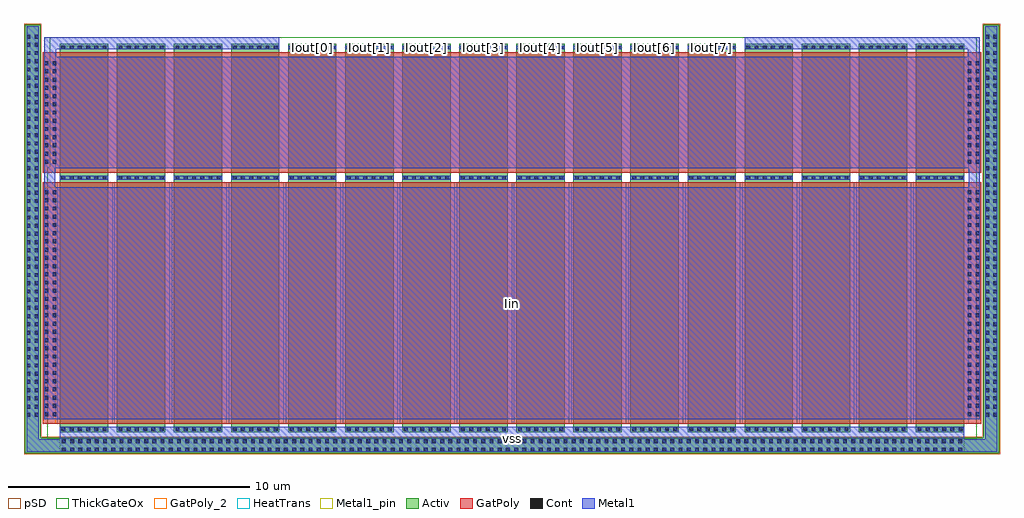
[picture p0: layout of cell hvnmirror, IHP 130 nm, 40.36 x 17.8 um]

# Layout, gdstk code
from math import pi, radians
import gdstk
lib = gdstk.Library(unit=1e-6, precision=1e-09)
def R(c, l, rs):  # rectangles x0, y0, x1, y1
    for r in rs: c.add(gdstk.rectangle(r[:2], r[2:], *l))
def A(c, l, x, y, w, h, nx, ny, dx, dy):  # array of equal rectangles
    R(c, l, [(x+i*dx, y+j*dy, x+i*dx+w, y+j*dy+h) for i in range(nx) for j in range(ny)])
Activ = (1, 0)
GatPoly = (5, 0)
GatPoly_2 = (5, 2)
Cont = (6, 0)
Metal1 = (8, 0)
Metal1_pin = (8, 2)
pSD = (14, 0)
ThickGateOx = (44, 0)
HeatTrans = (51, 0)

nmoshv_1 = lib.new_cell('nmosHV$1')
R(nmoshv_1, Activ, [(0,0,0.3,0.3), (0,0,10.68,2), (10.38,0,10.68,0.3)])
R(nmoshv_1, GatPoly, [(0.34,-0.1,10.34,2.18)])
R(nmoshv_1, GatPoly_2, [(0.34,-0.18,10.34,2.18)])
A(nmoshv_1, Cont, 0.07, 0.07, 0.16, 0.16, 1, 6, 0, 0.34)
A(nmoshv_1, Cont, 10.45, 0.07, 0.16, 0.16, 1, 6, 0, 0.34)
R(nmoshv_1, Metal1, [(0.07,0,0.23,2), (10.45,0,10.61,2)])
R(nmoshv_1, Metal1_pin, [(0.07,0,0.23,2), (10.45,0,10.61,2)])
R(nmoshv_1, ThickGateOx, [(-0.27,-0.52,10.95,2.52)])
R(nmoshv_1, HeatTrans, [(0.34,-0.1,10.34,2.18)])
nmoshv_1.add(gdstk.Label('nmosHV', (5.34,1), layer=63, texttype=0))
nmoshv_1.add(gdstk.Label('nmosHV', (5.34,1), layer=51, texttype=0))

nmoshv_2 = lib.new_cell('nmosHV$2')
R(nmoshv_2, Activ, [(0,0,0.3,0.3), (0,0,5.68,2), (5.38,0,5.68,0.3)])
R(nmoshv_2, GatPoly, [(0.34,-0.18,5.34,2.18)])
R(nmoshv_2, GatPoly_2, [(0.34,-0.18,5.34,2.18)])
A(nmoshv_2, Cont, 0.07, 0.07, 0.16, 0.16, 1, 6, 0, 0.34)
A(nmoshv_2, Cont, 5.45, 0.07, 0.16, 0.16, 1, 6, 0, 0.34)
R(nmoshv_2, Metal1, [(0.07,0,0.23,2), (5.45,0,5.61,2)])
R(nmoshv_2, Metal1_pin, [(0.07,0,0.23,2), (5.45,0,5.61,2)])
R(nmoshv_2, ThickGateOx, [(-0.27,-0.405,5.95,2.52)])
R(nmoshv_2, HeatTrans, [(0.34,-0.18,5.34,2.18)])
nmoshv_2.add(gdstk.Label('nmosHV', (2.84,1), layer=63, texttype=0))
nmoshv_2.add(gdstk.Label('nmosHV', (2.84,1), layer=51, texttype=0))

hvncasc = lib.new_cell('hvncasc')
hvncasc.add(gdstk.Reference(nmoshv_1, (0,0), rotation=pi/2, x_reflection=True))
hvncasc.add(gdstk.Reference(nmoshv_2, (0,10.38), rotation=pi/2, x_reflection=True))

feol_contacts_1 = lib.new_cell('FEOL$contacts$1')
A(feol_contacts_1, Cont, 0.09, 0, 0.16, 0.16, 110, 2, 0.34, 0.34)
R(feol_contacts_1, Metal1, [(0,0,37.4,0.5)])

feol_contacts_3 = lib.new_cell('FEOL$contacts$3')
A(feol_contacts_3, Cont, 0.13, 0, 0.16, 0.16, 28, 2, 0.34, 0.34)
R(feol_contacts_3, Metal1, [(0,0,9.6,0.5)])

feol_contacts = lib.new_cell('FEOL$contacts')
A(feol_contacts, Cont, 0.18, 0, 0.16, 0.16, 13, 2, 0.34, 0.34)
R(feol_contacts, Metal1, [(0,0,4.6,0.5)])

feol_contacts_1_1 = lib.new_cell('FEOL$contacts$1$1')
A(feol_contacts_1_1, Cont, 0.1, 0, 0.16, 0.16, 47, 2, 0.34, 0.34)
R(feol_contacts_1_1, Metal1, [(0,0,16,0.5)])

hvnmirror = lib.new_cell('hvnmirror')
R(hvnmirror, Metal1, [(-0.64,0.54,38.04,10.14), (-0.64,10.92,38.04,15.52)])
A(hvnmirror, Metal1_pin, 9.44, 15.83, 2, 0.16, 8, 1, 2.36, 0)
R(hvnmirror, Metal1_pin, [(0,-0.8,37.4,0.23), (-0.64,0.54,38.04,10.14)])
hvnmirror.add(gdstk.FlexPath([(-1.12,16.79),(-1.12,-0.55),(38.52,-0.55),(38.52,16.79)], 0.5, ends="flush", simple_path=True, layer=8, datatype=0))  # Metal1
hvnmirror.add(gdstk.FlexPath([(-0.41,0.54),(-0.41,15.52)], 0.46, ends="flush", simple_path=True, layer=8, datatype=0))  # Metal1
hvnmirror.add(gdstk.FlexPath([(37.81,0.54),(37.81,15.52)], 0.46, ends="flush", simple_path=True, layer=8, datatype=0))  # Metal1
hvnmirror.add(gdstk.FlexPath([(28.32,16.08),(37.79,16.08),(37.79,10.92)], 0.5, ends="flush", simple_path=True, layer=8, datatype=0))  # Metal1
hvnmirror.add(gdstk.FlexPath([(9.08,16.08),(-0.39,16.08),(-0.39,10.92)], 0.5, ends="flush", simple_path=True, layer=8, datatype=0))  # Metal1
hvnmirror.add(gdstk.FlexPath([(0,-0.275),(37.4,-0.275)], 1.01, ends="flush", simple_path=True, layer=8, datatype=0))  # Metal1
hvnmirror.add(gdstk.FlexPath([(-1.12,16.86),(-1.12,-0.55),(38.52,-0.55),(38.52,16.86)], 0.65, ends="flush", simple_path=True, layer=1, datatype=0))  # Activ
hvnmirror.add(gdstk.FlexPath([(-0.71,5.34),(38.11,5.34)], 10, ends="flush", simple_path=True, layer=5, datatype=0))  # GatPoly
hvnmirror.add(gdstk.FlexPath([(-0.71,13.22),(38.11,13.22)], 5, ends="flush", simple_path=True, layer=5, datatype=0))  # GatPoly
hvnmirror.add(gdstk.FlexPath([(-1.12,16.89),(-1.12,-0.55),(38.52,-0.55),(38.52,16.89)], 0.72, ends="flush", simple_path=True, layer=14, datatype=0))  # pSD
r = gdstk.Reference(hvncasc, (0,0)); r.repetition = gdstk.Repetition(16, 1, v1=(2.36,0), v2=(0,0)); hvnmirror.add(r)
hvnmirror.add(gdstk.Reference(feol_contacts_1, (0,-0.8)))
hvnmirror.add(gdstk.Reference(feol_contacts_3, (-0.14,0.54), rotation=pi/2))
hvnmirror.add(gdstk.Reference(feol_contacts_3, (37.54,0.54), rotation=pi/2, x_reflection=True))
hvnmirror.add(gdstk.Reference(feol_contacts, (-0.14,10.92), rotation=pi/2))
hvnmirror.add(gdstk.Reference(feol_contacts, (37.54,10.92), rotation=pi/2, x_reflection=True))
hvnmirror.add(gdstk.Reference(feol_contacts_1_1, (38.27,0.54), rotation=pi/2, x_reflection=True))
hvnmirror.add(gdstk.Reference(feol_contacts_1_1, (-0.875,0.54), rotation=pi/2))
hvnmirror.add(gdstk.Label('vss', (18.7,-0.275), layer=8, texttype=25))
hvnmirror.add(gdstk.Label('Iin', (18.7,5.34), layer=8, texttype=25))
hvnmirror.add(gdstk.Label('Iout[0]', (10.44,15.91), layer=8, texttype=25))
hvnmirror.add(gdstk.Label('Iout[1]', (12.8,15.91), layer=8, texttype=25))
hvnmirror.add(gdstk.Label('Iout[2]', (15.16,15.91), layer=8, texttype=25))
hvnmirror.add(gdstk.Label('Iout[3]', (17.52,15.91), layer=8, texttype=25))
hvnmirror.add(gdstk.Label('Iout[4]', (19.88,15.91), layer=8, texttype=25))
hvnmirror.add(gdstk.Label('Iout[5]', (22.24,15.91), layer=8, texttype=25))
hvnmirror.add(gdstk.Label('Iout[6]', (24.6,15.91), layer=8, texttype=25))
hvnmirror.add(gdstk.Label('Iout[7]', (26.96,15.91), layer=8, texttype=25))

lib.write_gds('hvnmirror.gds')
